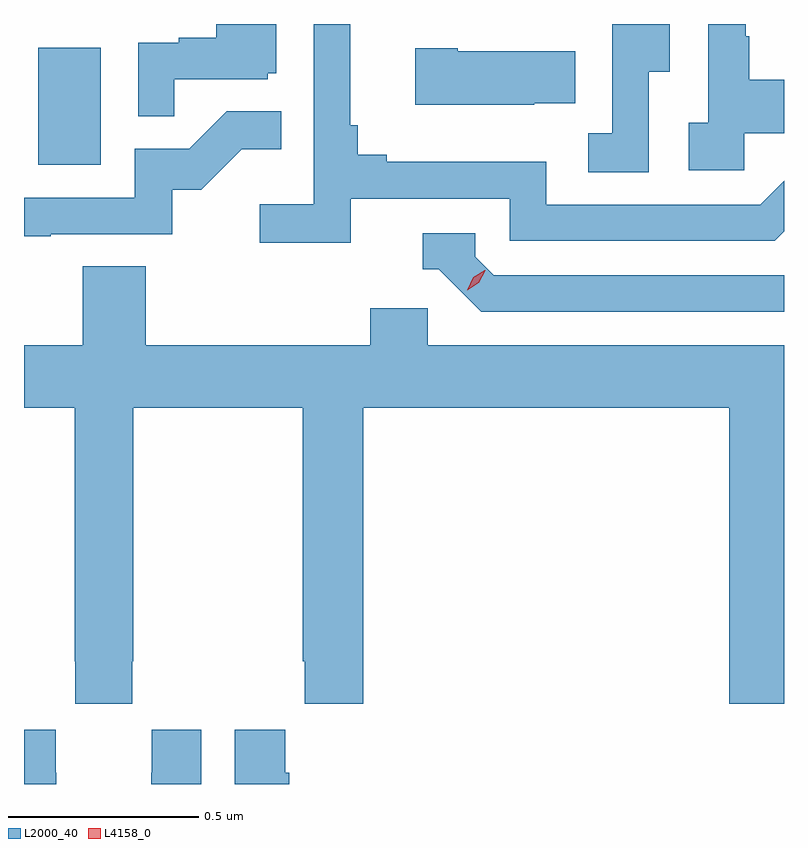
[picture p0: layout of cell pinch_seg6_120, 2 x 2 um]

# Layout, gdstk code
import gdstk
lib = gdstk.Library(unit=1e-6, precision=1e-09)
def R(c, l, rs):  # rectangles x0, y0, x1, y1
    for r in rs: c.add(gdstk.rectangle(r[:2], r[2:], *l))
def P(c, l, *ps):  # polygons
    for p in ps: c.add(gdstk.Polygon(p, *l))
L2000_40 = (2000, 40)
L4158_0 = (4158, 0)

pinch_seg6_120 = lib.new_cell('pinch_seg6_120')
R(pinch_seg6_120, L2000_40, [(950.312,922.668,950.476,922.975)])
P(pinch_seg6_120, L2000_40, [(952.17,922.751),(952.274,922.751),(952.274,922.891),(952.183,922.891),(952.183,923.006),(952.173,923.006),(952.173,923.038),(952.074,923.038),(952.074,922.778),(952.023,922.778),(952.023,922.653),(952.17,922.653)],
  [(950.669,922.893),(950.916,922.893),(950.916,922.908),(950.938,922.908),(950.938,923.038),(950.78,923.038),(950.78,923.002),(950.681,923.002),(950.681,922.989),(950.574,922.989),(950.574,922.795),(950.669,922.795)],
  [(951.134,922.578),(951.552,922.578),(951.552,922.467),(952.249,922.467),(952.274,922.492),(952.274,922.625),(952.212,922.563),(951.648,922.563),(951.648,922.675),(951.229,922.675),(951.229,922.694),(951.152,922.694),(951.152,922.771),(951.133,922.771),(951.133,923.038),(951.036,923.038),(951.036,922.564),(950.895,922.564),(950.895,922.462),(951.134,922.462)],
  [(951.918,922.912),(951.973,922.912),(951.973,923.038),(951.822,923.038),(951.822,922.751),(951.759,922.751),(951.759,922.648),(951.918,922.648)],
  [(951.617,922.829),(951.725,922.829),(951.725,922.966),(951.415,922.966),(951.415,922.974),(951.303,922.974),(951.303,922.826),(951.617,922.826)],
  [(950.345,922.485),(950.664,922.485),(950.664,922.602),(950.74,922.602),(950.847,922.709),(950.951,922.709),(950.951,922.808),(950.807,922.808),(950.709,922.71),(950.565,922.71),(950.565,922.581),(950.274,922.581),(950.274,922.48),(950.345,922.48)],
  [(952.274,922.377),(951.51,922.377),(951.462,922.425),(951.462,922.488),(951.323,922.488),(951.323,922.392),(951.366,922.392),(951.477,922.281),(952.274,922.281)],
  [(950.559,921.361),(950.562,921.361),(950.562,922.028),(951.007,922.028),(951.007,921.361),(951.013,921.361),(951.013,921.249),(951.167,921.249),(951.167,922.028),(952.13,922.028),(952.13,921.249),(952.274,921.249),(952.274,922.192),(951.336,922.192),(951.336,922.29),(951.185,922.29),(951.185,922.192),(950.594,922.192),(950.594,922.4),(950.429,922.4),(950.429,922.192),(950.274,922.192),(950.274,922.028),(950.407,922.028),(950.407,921.361),(950.409,921.361),(950.409,921.249),(950.559,921.249)],
  [(950.359,921.068),(950.358,921.068),(950.358,921.181),(950.274,921.181),(950.274,921.038),(950.359,921.038)],
  [(950.972,921.068),(950.962,921.068),(950.962,921.181),(950.828,921.181),(950.828,921.038),(950.972,921.038)],
  [(950.74,921.181),(950.61,921.181),(950.61,921.068),(950.609,921.068),(950.609,921.038),(950.74,921.038)])
P(pinch_seg6_120, L4158_0, [(951.44,922.338),(951.44,922.338),(951.456,922.371),(951.487,922.39),(951.488,922.39),(951.488,922.389),(951.471,922.357),(951.44,922.338)])

lib.write_gds('pinch_seg6_120.gds')
